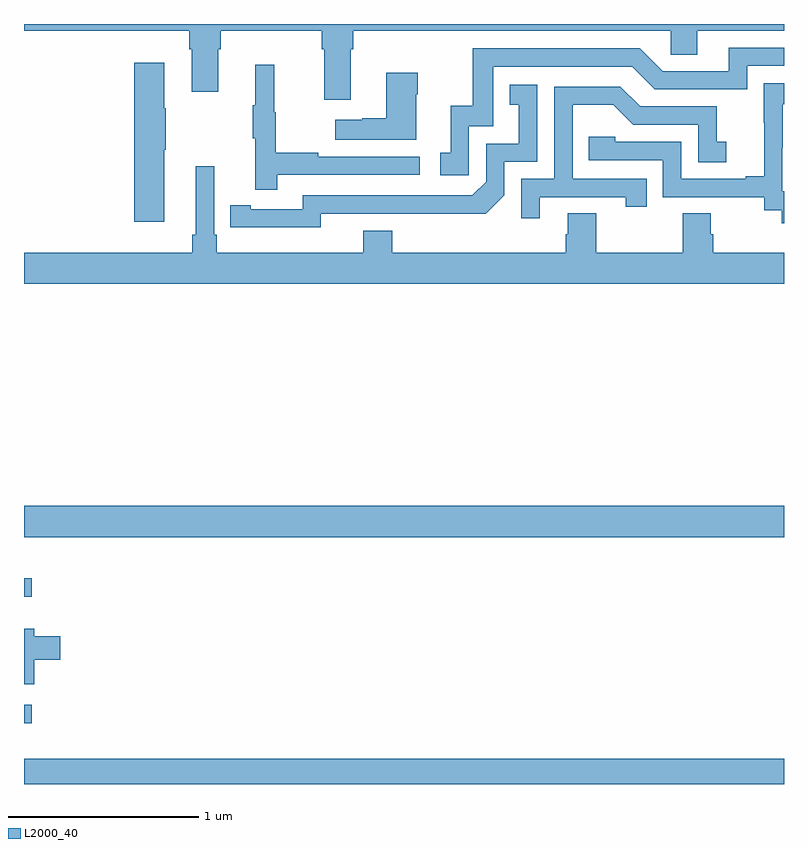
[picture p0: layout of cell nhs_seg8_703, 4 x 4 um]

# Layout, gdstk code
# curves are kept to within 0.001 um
import gdstk
lib = gdstk.Library(unit=1e-6, precision=1e-09)
def R(c, l, rs):  # rectangles x0, y0, x1, y1
    for r in rs: c.add(gdstk.rectangle(r[:2], r[2:], *l))
def P(c, l, *ps):  # polygons
    for p in ps: c.add(gdstk.Polygon(p, *l))
L2000_40 = (2000, 40)

nhs_seg8_703 = lib.new_cell('nhs_seg8_703')
R(nhs_seg8_703, L2000_40, [(157,1081.9,161,1082.032), (157,1082.219,157.042,1082.316), (157,1082.885,157.042,1082.982), (157,1083.2,161,1083.364)])
P(nhs_seg8_703, L2000_40, [(158.719,1085.768),(158.732,1085.768),(158.732,1085.864),(160.404,1085.864),(160.404,1085.737),(160.543,1085.737),(160.543,1085.864),(161,1085.864),(161,1085.9),(157,1085.9),(157,1085.864),(157.871,1085.864),(157.871,1085.768),(157.883,1085.768),(157.883,1085.544),(158.023,1085.544),(158.023,1085.768),(158.036,1085.768),(158.036,1085.864),(158.567,1085.864),(158.567,1085.768),(158.579,1085.768),(158.579,1085.502),(158.719,1085.502)],
  [(159.342,1085.361),(159.471,1085.361),(159.471,1085.676),(160.2,1085.676),(160.32,1085.556),(160.806,1085.556),(160.806,1085.679),(161,1085.679),(161,1085.775),(160.709,1085.775),(160.709,1085.652),(160.362,1085.652),(160.242,1085.772),(159.363,1085.772),(159.363,1085.47),(159.245,1085.47),(159.245,1085.223),(159.192,1085.223),(159.192,1085.103),(159.342,1085.103)],
  [(157.738,1085.239),(157.746,1085.239),(157.746,1085.456),(157.738,1085.456),(157.738,1085.695),(157.58,1085.695),(157.58,1084.86),(157.738,1084.86)],
  [(158.333,1085.106),(159.082,1085.106),(159.082,1085.202),(158.549,1085.202),(158.549,1085.222),(158.326,1085.222),(158.326,1085.436),(158.318,1085.436),(158.318,1085.686),(158.216,1085.686),(158.216,1085.473),(158.205,1085.473),(158.205,1085.299),(158.216,1085.299),(158.216,1085.028),(158.333,1085.028)],
  [(159.064,1085.531),(159.072,1085.531),(159.072,1085.644),(158.906,1085.644),(158.906,1085.405),(158.78,1085.405),(158.78,1085.395),(158.637,1085.395),(158.637,1085.291),(159.064,1085.291)],
  [(161,1085.019),(160.992,1085.019),(160.992,1085.249),(160.994,1085.249),(160.994,1085.477),(161,1085.477),(161,1085.587),(160.894,1085.587),(160.894,1085.381),(160.895,1085.381),(160.895,1085.098),(160.799,1085.098),(160.799,1085.085),(160.458,1085.085),(160.458,1085.28),(160.113,1085.28),(160.113,1085.307),(159.973,1085.307),(159.973,1085.184),(160.362,1085.184),(160.362,1084.989),(160.896,1084.989),(160.896,1084.921),(160.989,1084.921),(160.989,1084.851),(161,1084.851)],
  [(158.562,1084.902),(159.43,1084.901),(159.528,1084.998),(159.528,1085.175),(159.702,1085.175),(159.702,1085.581),(159.556,1085.581),(159.556,1085.475),(159.605,1085.475),(159.605,1085.271),(159.432,1085.271),(159.432,1085.07),(159.36,1084.998),(158.466,1084.998),(158.466,1084.926),(158.194,1084.926),(158.194,1084.946),(158.086,1084.946),(158.086,1084.83),(158.562,1084.829)],
  [(159.715,1084.989),(160.166,1084.989),(160.166,1084.938),(160.277,1084.938),(160.277,1085.085),(159.888,1085.085),(159.888,1085.474),(160.102,1085.474),(160.206,1085.37),(160.548,1085.37),(160.548,1085.172),(160.696,1085.172),(160.696,1085.281),(160.647,1085.281),(160.647,1085.466),(160.243,1085.466),(160.138,1085.571),(159.792,1085.571),(159.792,1085.085),(159.618,1085.085),(159.618,1084.878),(159.715,1084.878)],
  [(161,1084.696),(160.628,1084.696),(160.628,1084.794),(160.615,1084.794),(160.615,1084.904),(160.468,1084.904),(160.468,1084.696),(160.011,1084.696),(160.011,1084.904),(159.863,1084.904),(159.863,1084.794),(159.851,1084.794),(159.851,1084.696),(158.939,1084.696),(158.939,1084.813),(158.786,1084.813),(158.786,1084.696),(158.015,1084.696),(158.015,1084.792),(158.001,1084.792),(158.001,1085.152),(157.904,1085.152),(157.904,1084.792),(157.885,1084.792),(157.885,1084.696),(157,1084.696),(157,1084.532),(161,1084.532)],
  [(157.054,1082.555),(157.192,1082.555),(157.192,1082.677),(157.054,1082.677),(157.054,1082.716),(157,1082.716),(157,1082.426),(157.054,1082.426)])

lib.write_gds('nhs_seg8_703.gds')
